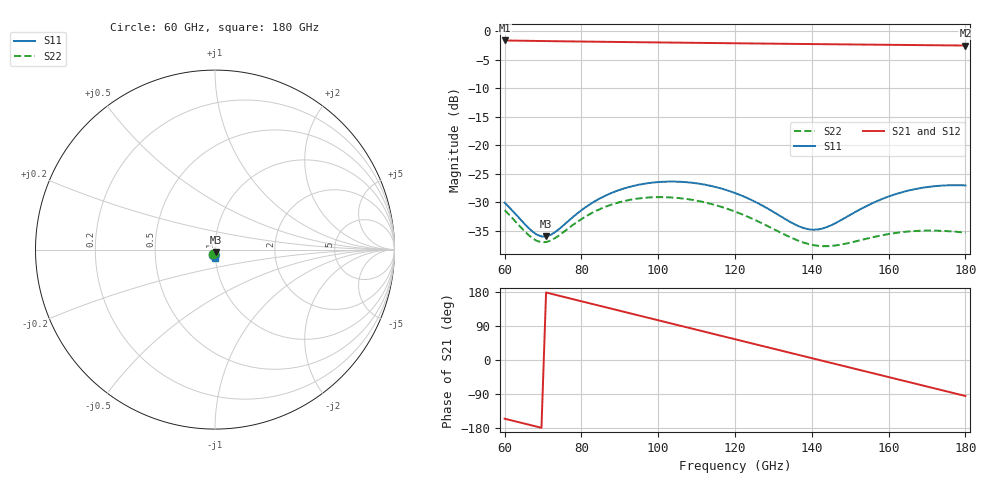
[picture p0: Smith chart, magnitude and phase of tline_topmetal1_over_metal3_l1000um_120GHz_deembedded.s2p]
! Created with skrf 2.0.1 (http://scikit-rf.org).
# GHz S DB R 50.0
!freq dBS11 angS11 dBS21 angS21 dBS12 angS12 dBS22 angS22
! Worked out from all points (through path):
!   101 points, 60 GHz to 180 GHz, reference 50 ohm
!   highest |S21| = -1.59 dB at 60 GHz (marker M1); lowest = -2.5 dB at 180 GHz (marker M2)
!   group delay of S21, straight-line fit = 6.95 ps
!   lowest |S11| = -36.0 dB at 70.8 GHz (marker M3), VSWR 1.03, Z = 50.4 - j1.54 ohm
!   |S11| at or under -10 dB: start of sweep to end of sweep
!   |S22| runs from -37.7 to -29.1 dB; largest |S21 - S12| = 5.4e-16
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60  -30.05 -112.7  -1.59 -154.8  -1.59 -154.8  -31.34 -109.2
67.2  -35.07 -96.6  -1.66 -172.9  -1.66 -172.9  -36.26 -91.4
70.8  -35.97 -74.1  -1.70 178.0  -1.70 178.0  -36.95 -70.3
73.2  -35.19 -60.5  -1.72 172.0  -1.72 172.0  -36.23 -58.3
80.4  -31.17 -46.7  -1.78 154.0  -1.78 154.0  -32.76 -46.4
85.2  -29.16 -49.6  -1.82 142.0  -1.82 142.0  -31.06 -49.5
91.2  -27.53 -57.8  -1.87 126.9  -1.87 126.9  -29.75 -57.5
100.8  -26.39 -74.4  -1.94 102.9  -1.94 102.9  -29.07 -73.8
105.6  -26.37 -83.0  -1.98 90.9  -1.98 90.9  -29.25 -82.2
110.4  -26.69 -91.3  -2.01 78.8  -2.01 78.8  -29.74 -90.2
120  -28.35 -105.5  -2.08 54.8  -2.08 54.8  -31.60 -103.7
126  -30.14 -110.6  -2.13 39.8  -2.13 39.8  -33.33 -108.5
130.8  -31.98 -110.1  -2.16 27.8  -2.16 27.8  -34.93 -108.9
136.8  -34.23 -99.3  -2.20 12.8  -2.20 12.8  -36.79 -103.1
140.4  -34.79 -87.0  -2.23 3.9  -2.23 3.9  -37.48 -96.7
144  -34.30 -74.8  -2.25 -5.1  -2.25 -5.1  -37.67 -89.5
150  -32.18 -63.6  -2.29 -20.1  -2.29 -20.1  -37.06 -80.9
154.8  -30.45 -62.6  -2.32 -32.1  -2.32 -32.1  -36.27 -78.5
160.8  -28.77 -66.5  -2.36 -47.1  -2.36 -47.1  -35.46 -79.7
170.4  -27.27 -78.0  -2.42 -71.0  -2.42 -71.0  -34.94 -85.9
175.2  -27.00 -84.4  -2.45 -83.0  -2.45 -83.0  -35.03 -89.2
180  -27.02 -90.8  -2.48 -94.9  -2.48 -94.9  -35.29 -91.7
